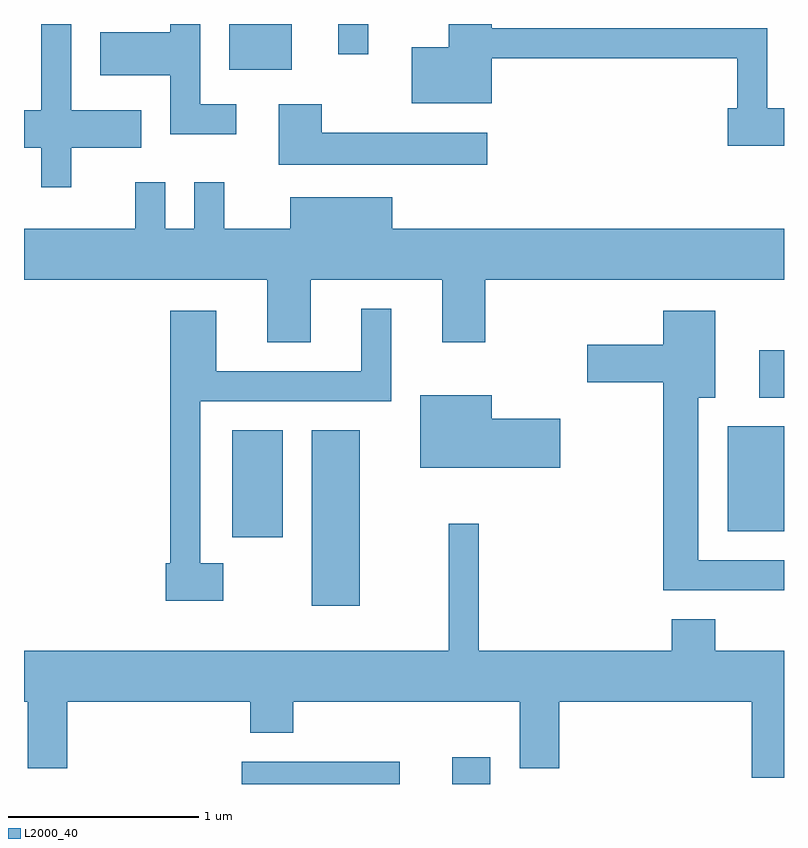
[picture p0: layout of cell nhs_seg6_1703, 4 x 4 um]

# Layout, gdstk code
import gdstk
lib = gdstk.Library(unit=1e-6, precision=1e-09)
def R(c, l, rs):  # rectangles x0, y0, x1, y1
    for r in rs: c.add(gdstk.rectangle(r[:2], r[2:], *l))
def P(c, l, *ps):  # polygons
    for p in ps: c.add(gdstk.Polygon(p, *l))
L2000_40 = (2000, 40)

nhs_seg6_1703 = lib.new_cell('nhs_seg6_1703')
R(nhs_seg6_1703, L2000_40, [(236.756,1656.162,237.588,1656.279), (237.866,1656.162,238.064,1656.304), (237.126,1657.101,237.379,1658.024), (236.706,1657.461,236.974,1658.024), (239.316,1657.491,239.611,1658.044), (239.481,1658.196,239.611,1658.444), (236.691,1659.921,237.019,1660.162), (237.266,1660.003,237.424,1660.162)])
P(nhs_seg6_1703, L2000_40, [(235.859,1659.511),(236.229,1659.511),(236.229,1659.709),(235.859,1659.709),(235.859,1660.162),(235.701,1660.162),(235.701,1659.709),(235.611,1659.709),(235.611,1659.511),(235.701,1659.511),(235.701,1659.303),(235.859,1659.303)],
  [(236.728,1659.739),(236.539,1659.739),(236.539,1660.162),(236.381,1660.162),(236.381,1660.119),(236.011,1660.119),(236.011,1659.891),(236.381,1659.891),(236.381,1659.581),(236.728,1659.581)],
  [(239.611,1659.719),(239.524,1659.719),(239.524,1660.139),(238.074,1660.139),(238.074,1660.162),(237.846,1660.162),(237.846,1660.039),(237.651,1660.039),(237.651,1659.746),(238.074,1659.746),(238.074,1659.981),(239.366,1659.981),(239.366,1659.719),(239.316,1659.719),(239.316,1659.521),(239.611,1659.521)],
  [(238.048,1659.589),(237.179,1659.589),(237.179,1659.739),(236.951,1659.739),(236.951,1659.421),(238.048,1659.421)],
  [(237.119,1658.816),(237.811,1658.816),(237.811,1658.486),(238.039,1658.486),(238.039,1658.816),(239.611,1658.816),(239.611,1659.084),(237.549,1659.084),(237.549,1659.249),(237.011,1659.249),(237.011,1659.084),(236.664,1659.084),(236.664,1659.328),(236.506,1659.328),(236.506,1659.084),(236.354,1659.084),(236.354,1659.328),(236.196,1659.328),(236.196,1659.084),(235.611,1659.084),(235.611,1658.816),(236.891,1658.816),(236.891,1658.486),(237.119,1658.486)],
  [(236.659,1657.324),(236.539,1657.324),(236.539,1658.176),(237.544,1658.176),(237.544,1658.663),(237.386,1658.663),(237.386,1658.334),(236.624,1658.334),(236.624,1658.654),(236.381,1658.654),(236.381,1657.324),(236.356,1657.324),(236.356,1657.126),(236.659,1657.126)],
  [(239.611,1657.339),(239.159,1657.339),(239.159,1658.196),(239.249,1658.196),(239.249,1658.654),(238.976,1658.654),(238.976,1658.474),(238.576,1658.474),(238.576,1658.276),(238.976,1658.276),(238.976,1657.181),(239.611,1657.181)],
  [(238.434,1658.084),(238.074,1658.084),(238.074,1658.209),(237.696,1658.209),(237.696,1657.826),(238.434,1657.826)],
  [(239.611,1656.864),(239.249,1656.864),(239.249,1657.029),(239.021,1657.029),(239.021,1656.864),(238.004,1656.864),(238.004,1657.533),(237.846,1657.533),(237.846,1656.864),(235.611,1656.864),(235.611,1656.596),(235.631,1656.596),(235.631,1656.246),(235.839,1656.246),(235.839,1656.596),(236.801,1656.596),(236.801,1656.431),(237.029,1656.431),(237.029,1656.596),(238.221,1656.596),(238.221,1656.246),(238.429,1656.246),(238.429,1656.596),(239.441,1656.596),(239.441,1656.196),(239.611,1656.196)])

lib.write_gds('nhs_seg6_1703.gds')
